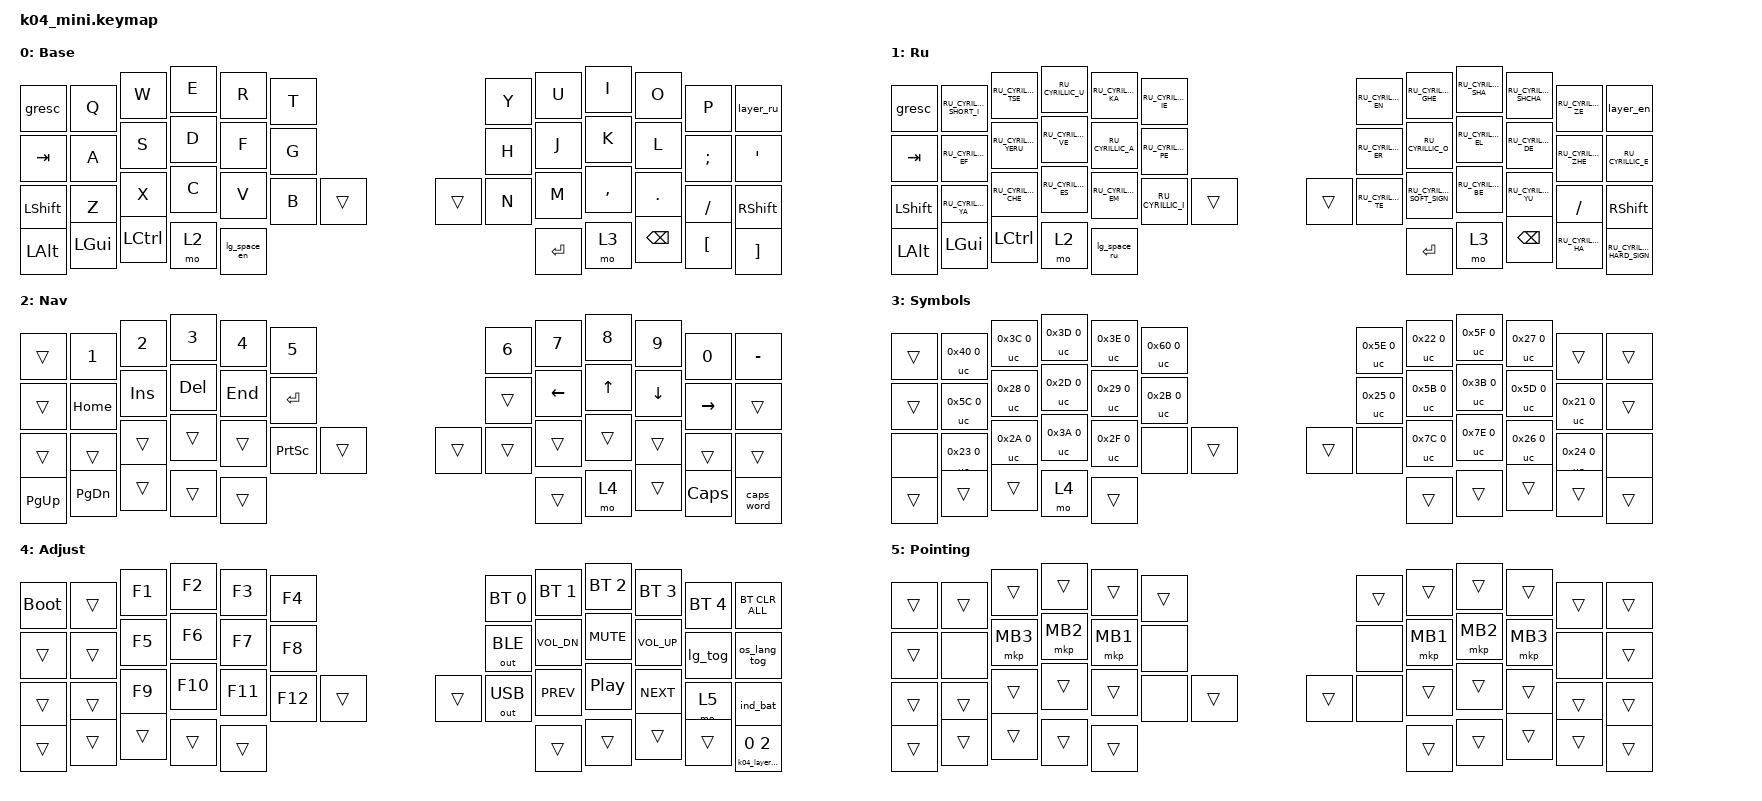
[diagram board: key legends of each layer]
/*
 * K:04 Mini keymap — RuEn edition, cross-OS (Linux / Windows / macOS).
 *
 * See ../CROSS_OS.md for the host-side setup each OS expects and for the
 * touchpad knobs. Nothing here is per-OS: one keymap runs everywhere and a
 * single marked line (plus one modifier mask) selects the host shortcut
 * that switches the OS input source.
 *
 * Layers:
 *   0 en      — base, English (OS layout: English)
 *   1 ru      — base, Russian (OS layout: Russian; letters ride the OS
 *               translit automatically, symbol keys use RU_* aliases)
 *   2 nav     — navigation/numbers, shared between languages
 *   3 sym     — ONE EN-context-free symbol layer, momentary from BOTH
 *               bases via T7; every key is a &uc code point typed via
 *               UC_MODE_LINUX, so symbols work whatever layout is active
 *   4 adj     — adjust (BT profiles, media, outputs, language keys)
 *   5 pointing — extra mouse buttons under the fingers while held
 *
 * Language switching — relative "next source" (one keymap, every OS, ZERO
 * host configuration; this is the scheme the user confirmed working):
 *   - The keyboard layer is the source of truth; every action that changes
 *     it also flips the OS input source with one Super+Space, and nothing
 *     else does.
 *   - A12 (top-right) on each base layer: &layer_ru on en, &layer_en on ru.
 *     The binding comes from the CURRENT layer, so one relative "next" is
 *     always exactly the right amount — no drift, no host setup.
 *   - Spacebar with Super held: per-base mod-morphs — &lg_space_en on the
 *     en base (= &layer_ru), &lg_space_ru on the ru base (= &layer_en).
 *   - Adjust layer: LANG (&lg_tog) cycles "next source + tog layer";
 *     SYNC (&os_lang_tog) flips ONLY the OS input source (escape hatch if
 *     a mouse/system menu/second keyboard changed the layout externally);
 *     MOUSE (&mo 5) reaches the pointing layer; the outermost right thumb
 *     key (&k04_layer_led 0 2) toggles the always-lit white base light.
 *   - The status LED shows the official battery/BT/connect language plus
 *     distinct colors on the momentary layers (nav/sym/adj/pointing); the
 *     two base layers en/ru are both white — language is not LED-encoded.
 *   - If layer and OS ever drift apart, SYNC once re-pairs them.
 *
 * Symbols that don't exist in the Russian layout ({ } & $ ~ @ ^) are typed
 * from the single sym layer: T7 momentaries it from either base. Every
 * symbol key is a Unicode code point (&uc CP 0, UC_MODE_LINUX / IBus), so
 * it lands correctly whatever layout the host is in and WITHOUT any layout
 * switch — and holding T7 no longer kills the layer (the old C1/C12
 * switches used &to, which clears a held momentary; that mechanism is
 * gone). The host needs IBus/the GTK input method (CROSS_OS.md → Unicode).
 *
 * Note: caps_word on the nav layer works for English; ZMK's Caps Word
 * can't capitalize Russian Б (it lives on the DOT key) — an RuEn-specific
 * workaround can be added later if needed.
 */

#include "keys_ru.h"
#include <dt-bindings/zmk/modifiers.h>
#include <behaviors.dtsi>
#include <behaviors/layer_led.dtsi>
#include <dt-bindings/zmk/bt.h>
#include <dt-bindings/zmk/keys.h>
#include <dt-bindings/zmk/outputs.h>
#include <dt-bindings/zmk/pointing.h>
#include <behaviors/unicode.dtsi>

/* The sym layer types code points via &uc so that English-only symbols
 * (@ { } ~ …) come out right whatever OS layout is active, WITHOUT the
 * firmware switching the layout (see CROSS_OS.md → Unicode input).
 * UC_MODE_LINUX = Ctrl+Shift+U, hex, Space (IBus / GTK). Change to
 * UC_MODE_WIN_COMPOSE / UC_MODE_MACOS for those hosts, or add
 * UC_SET_* keys to a layer to switch on the fly. Requires the host IME
 * to be running (see docs). */
&uc {
    default-mode = <UC_MODE_LINUX>;
};

/ {
    /* Status-LED battery indication (Adjust layer). Defined inline so the
     * keymap-editor can parse this file; binding comes from
     * zmk-smart-rgbled-widget at build time. */

    behaviors {
        ind_bat: ind_bat {
            compatible = "zmk,behavior-rgbled-widget";
            #binding-cells = <0>;
            indicate-battery;
        };

        /* HOST SETUP #2 (see CROSS_OS.md): which modifier held over the
         * spacebar means "switch input source". It must be EXACTLY the
         * modifier the switch macros send (Switch 1 = Super+Space, so
         * Super), because the morph reuses the key you physically hold:
         * the held modifier and the macro's own combine into the chord
         * the host sees.
         *   Linux / Windows (Super+Space)  -> MOD_LGUI   (current)
         *   macOS (Ctrl+Space)             -> MOD_LCTL
         * Two variants, one per base layer (targets layer_ru / layer_en),
         * so the chord moves exactly one step in the right direction,
         * never a blind toggle. A plain space is sent with no modifier. */
        lg_space_en: lg_space_en {
            compatible = "zmk,behavior-mod-morph";
            label = "LG_SPACE_EN";
            #binding-cells = <0>;
            bindings = <&kp SPACE>, <&layer_ru>;

            mods = <(MOD_LGUI)>;
        };

        lg_space_ru: lg_space_ru {
            compatible = "zmk,behavior-mod-morph";
            label = "LG_SPACE_RU";
            #binding-cells = <0>;
            bindings = <&kp SPACE>, <&layer_en>;

            mods = <(MOD_LGUI)>;
        };

        /* ru-layer key right of ю: a plain slash scancode types "." in
         * the Russian OS layout and "," with Shift — the standard
         * bilingual /? key, no macro needed. The en layer's C11 uses
         * the same scancode ("/" and "?" in English). */
    };

    /* No combos: the previous E+R language combo (key-positions 3 4)
     * misfired on fast "er"/"re" typing rolls and switched the language
     * mid-word. Use the top-right key, the spacebar chord, or the
     * Adjust-layer LANG/SYNC keys instead. */

    macros {
        /* =====================================================================
         * HOST SETUP #1 — the single place that knows which OS the keyboard is
         * talking to. Every language action runs &os_lang_tog, so switching
         * target OS means editing exactly ONE line: the one marked ACTIVE.
         *
         * Each preset asks the host to move to the NEXT input source:
         *   os_next_linux_win  Super+Space — the default on GNOME and on
         *                      Windows 10/11. No host configuration needed.
         *                      KDE sometimes ships this on Alt+Shift instead:
         *                      check System Settings → Shortcuts → Keyboard
         *                      Layout and make the preset match the host.
         *   os_next_mac        Ctrl+Space  — macOS default "Select the previous
         *                      input source". No host configuration needed.
         *   os_next_x11        Alt+Shift   — X11/xkb layouts grouping; needs
         *                      `setxkbmap -option grp:alt_shift_toggle` (or add
         *                      it to your xorg.conf / desktop layout options).
         *
         * Do NOT fire several shortcuts at once to "cover every OS": it looks
         * harmless but it is not. Ctrl+Space is the completion shortcut in
         * every editor on Linux/Windows, Shift+Shift is grabbable too, and an
         * extra accepted shortcut flips the layout an odd number of times —
         * which is exactly how the keyboard layer and the OS layout drifted
         * apart. Pick the one line for the OS you are on.
         * ===================================================================== */

        os_next_linux_win: os_next_linux_win {
            compatible = "zmk,behavior-macro";
            label = "OS_NEXT_LW";
            #binding-cells = <0>;
            bindings = <&kp LG(SPACE)>;
            wait-ms = <0>;
            tap-ms = <30>;
        };

        os_next_mac: os_next_mac {
            compatible = "zmk,behavior-macro";
            label = "OS_NEXT_MAC";
            #binding-cells = <0>;
            bindings = <&kp LC(SPACE)>;
            wait-ms = <0>;
            tap-ms = <30>;
        };

        os_next_x11: os_next_x11 {
            compatible = "zmk,behavior-macro";
            label = "OS_NEXT_X11";
            #binding-cells = <0>;
            bindings =
                <&macro_press &kp LALT>,
                <&macro_press &kp RSHFT>,
                <&macro_release &kp RSHFT>,
                <&macro_release &kp LALT>;
            wait-ms = <0>;
            tap-ms = <30>;
        };

        /* Ask the host to switch input source — the RELATIVE "next source"
         * chord. This is the stock shortcut on GNOME/KDE/Windows
         * (Super+Space), so the keymap needs ZERO host configuration.
         * Parity holds because every binding that toggles also moves the
         * keyboard layer one step, and the switch keys live on the layer
         * you are currently on (A12 on en = go RU, A12 on ru = go EN; the
         * sym layer's C1/C12 follow the same one-step rule). macOS users:
         * swap in <&os_next_mac> below. */

        os_lang_tog: os_lang_tog {
            compatible = "zmk,behavior-macro";
            label = "OS_LANG_TOG";
            #binding-cells = <0>;
            bindings = <&os_next_linux_win>; /* ← ACTIVE: the one line to change */
            wait-ms = <0>;
            tap-ms = <30>;
        };

        /* Full language toggle: OS input source + keyboard layer. Used by the
         * spacebar chord and by the Adjust-layer LANG key, where the current
         * base layer is not encoded in the binding. */

        lg_tog: lg_tog {
            compatible = "zmk,behavior-macro";
            label = "LG_TOG";
            #binding-cells = <0>;
            bindings = <&os_lang_tog &tog 1>;
            wait-ms = <0>;
            tap-ms = <30>;
        };

        /* A12 on each base layer, and the targets of the per-base spacebar
         * morphs. Because the binding comes from the layer that is CURRENTLY
         * active, a single relative "next source" is always the right amount:
         * on the en base the key is layer_ru (→ Russian), on the ru base it
         * is layer_en (→ English). No host configuration required. */

        layer_en: layer_en {
            compatible = "zmk,behavior-macro";
            label = "LAYER_EN";
            #binding-cells = <0>;
            bindings = <&to 0 &os_lang_tog>;
            wait-ms = <0>;
            tap-ms = <30>;
        };

        layer_ru: layer_ru {
            compatible = "zmk,behavior-macro";
            label = "LAYER_RU";
            #binding-cells = <0>;
            bindings = <&to 1 &os_lang_tog>;
            wait-ms = <0>;
            tap-ms = <30>;
        };
    };

    keymap {
        compatible = "zmk,keymap";

        en {
            bindings = <
&gresc     &kp Q     &kp W      &kp E  &kp R      &kp T                    &kp Y      &kp U  &kp I      &kp O     &kp P     &layer_ru
&kp TAB    &kp A     &kp S      &kp D  &kp F      &kp G                    &kp H      &kp J  &kp K      &kp L     &kp SEMI  &kp SQT
&kp LSHFT  &kp Z     &kp X      &kp C  &kp V      &kp B  &trans  &trans    &kp N      &kp M  &kp COMMA  &kp DOT   &kp FSLH   &kp RSHFT
&kp LALT   &kp LGUI  &kp LCTRL  &mo 2  &lg_space_en                          &kp ENTER  &mo 3  &kp BSPC   &kp LBKT  &kp RBKT
            >;

            display-name = "Base";
        };

        ru {
            display-name = "Ru";
            bindings = <
&gresc     &kp RU_CYRILLIC_SHORT_I  &kp RU_CYRILLIC_TSE   &kp RU_CYRILLIC_U   &kp RU_CYRILLIC_KA  &kp RU_CYRILLIC_IE                    &kp RU_CYRILLIC_EN  &kp RU_CYRILLIC_GHE        &kp RU_CYRILLIC_SHA  &kp RU_CYRILLIC_SHCHA  &kp RU_CYRILLIC_ZE         &layer_en
&kp TAB    &kp RU_CYRILLIC_EF       &kp RU_CYRILLIC_YERU  &kp RU_CYRILLIC_VE  &kp RU_CYRILLIC_A   &kp RU_CYRILLIC_PE                    &kp RU_CYRILLIC_ER  &kp RU_CYRILLIC_O          &kp RU_CYRILLIC_EL   &kp RU_CYRILLIC_DE     &kp RU_CYRILLIC_ZHE        &kp RU_CYRILLIC_E
&kp LSHFT  &kp RU_CYRILLIC_YA       &kp RU_CYRILLIC_CHE   &kp RU_CYRILLIC_ES  &kp RU_CYRILLIC_EM  &kp RU_CYRILLIC_I   &trans  &trans    &kp RU_CYRILLIC_TE  &kp RU_CYRILLIC_SOFT_SIGN  &kp RU_CYRILLIC_BE         &kp RU_CYRILLIC_YU             &kp FSLH                  &kp RSHFT
&kp LALT   &kp LGUI                 &kp LCTRL             &mo 2               &lg_space_ru                                                &kp ENTER           &mo 3                    &kp BSPC             &kp RU_CYRILLIC_HA     &kp RU_CYRILLIC_HARD_SIGN
            >;
        };

        nav {
            bindings = <
&trans     &kp N1     &kp N2   &kp N3   &kp N4   &kp N5                       &kp N6  &kp N7    &kp N8  &kp N9    &kp N0      &kp MINUS
&trans     &kp HOME   &kp INS  &kp DEL  &kp END  &kp RET                      &trans  &kp LEFT  &kp UP  &kp DOWN  &kp RIGHT   &trans
&trans     &trans     &trans   &trans   &trans   &kp PSCRN  &trans  &trans    &trans  &trans    &trans  &trans    &trans      &trans
&kp PG_UP  &kp PG_DN  &trans   &trans   &trans                                &trans  &mo 4     &trans  &kp CAPS  &caps_word
            >;

            display-name = "Nav";
        };

        sym {
            bindings = <
&trans   &uc 0x40 0  &uc 0x3C 0  &uc 0x3D 0  &uc 0x3E 0  &uc 0x60 0           &uc 0x5E 0  &uc 0x22 0  &uc 0x5F 0  &uc 0x27 0  &trans   &trans
&trans   &uc 0x5C 0  &uc 0x28 0  &uc 0x2D 0  &uc 0x29 0  &uc 0x2B 0           &uc 0x25 0  &uc 0x5B 0  &uc 0x3B 0  &uc 0x5D 0  &uc 0x21 0 &trans
&none    &uc 0x23 0  &uc 0x2A 0  &uc 0x3A 0  &uc 0x2F 0  &none   &trans &trans &none       &uc 0x7C 0  &uc 0x7E 0  &uc 0x26 0  &uc 0x24 0 &none
&trans   &trans    &trans      &mo 4      &trans                              &trans     &trans    &trans     &trans    &trans
            >;

            /* ONE symbol layout for BOTH bases (3/4 merged by user
             * request). Every symbol is a Unicode code point (&uc CP 0)
             * typed via UC_MODE_LINUX, so it comes out correct no matter
             * which OS layout is active and WITHOUT any layout switch —
             * this is why the old T7+C1/C12 switches (which also cleared
             * the held momentary layer via &to) are gone. Hold T7, type
             * symbols, release. Language switching lives on A12 and the
             * spacebar morph only. The shift positions are &none so a
             * stray thumb on shift cannot disrupt the layer. */

            display-name = "Symbols";
        };

        adj {
            bindings = <
&bootloader  &trans  &kp F1  &kp F2   &kp F3   &kp F4                     &bt BT_SEL 0  &bt BT_SEL 1  &bt BT_SEL 2      &bt BT_SEL 3  &bt BT_SEL 4  &bt BT_CLR_ALL
&trans       &trans  &kp F5  &kp F6   &kp F7   &kp F8                     &out OUT_BLE  &kp C_VOL_DN  &kp C_MUTE        &kp C_VOL_UP  &lg_tog       &os_lang_tog
&trans       &trans  &kp F9  &kp F10  &kp F11  &kp F12  &trans  &trans    &out OUT_USB  &kp C_PREV    &kp C_PLAY_PAUSE  &kp C_NEXT    &mo 5               &ind_bat
&trans       &trans  &trans  &trans   &trans                              &trans        &trans        &trans            &trans        &k04_layer_led 0 2
            >;

            /* Row 1, right end: LANG (switch OS input source + keyboard layer
             * together) and SYNC (switch the OS input source only — use it to
             * re-pair after the layout was changed by mouse, system menu or a
             * second keyboard).
             * Row 2, right end: MOUSE (hold for the pointing layer's extra
             * mouse buttons) and the battery readout. */

            display-name = "Adjust";
        };

        pointing {
            bindings = <
&trans  &trans  &trans    &trans    &trans    &trans                    &trans  &trans    &trans    &trans    &trans  &trans
&trans  &none   &mkp MB3  &mkp MB2  &mkp MB1  &none                     &none   &mkp MB1  &mkp MB2  &mkp MB3  &none   &trans
&trans  &trans  &trans    &trans    &trans    &none   &trans  &trans    &none   &trans    &trans    &trans    &trans  &trans
&trans  &trans  &trans    &trans    &trans                              &trans  &trans    &trans    &trans    &trans
            >;

            /* Reachable by holding the MOUSE key (Adjust, row 2, right end of
             * the inner thumb cluster). The touchpad itself sends motion and
             * its own taps on every layer; this layer only adds the extra
             * buttons under the fingers. */

            display-name = "Pointing";
        };
    };
};
